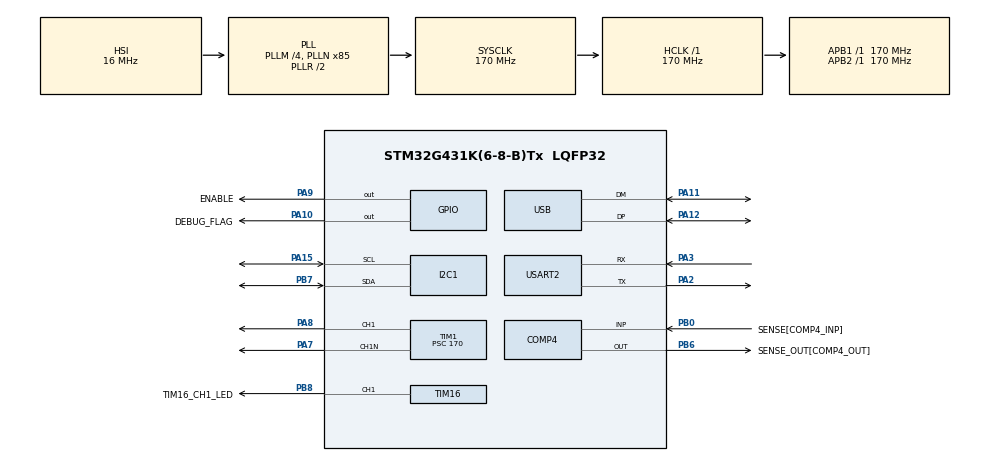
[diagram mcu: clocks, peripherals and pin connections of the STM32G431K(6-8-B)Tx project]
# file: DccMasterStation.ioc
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Dma.Request0=TIM1_CH1
Dma.TIM1_CH1.0.Direction=DMA_MEMORY_TO_PERIPH
Dma.TIM1_CH1.0.EventEnable=DISABLE
Dma.TIM1_CH1.0.Instance=DMA1_Channel1
Dma.TIM1_CH1.0.MemDataAlignment=DMA_MDATAALIGN_HALFWORD
Dma.TIM1_CH1.0.MemInc=DMA_MINC_ENABLE
Dma.TIM1_CH1.0.Mode=DMA_NORMAL
Dma.TIM1_CH1.0.PeriphDataAlignment=DMA_PDATAALIGN_HALFWORD
Dma.TIM1_CH1.0.PeriphInc=DMA_PINC_DISABLE
Dma.TIM1_CH1.0.Polarity=HAL_DMAMUX_REQ_GEN_RISING
Dma.TIM1_CH1.0.Priority=DMA_PRIORITY_VERY_HIGH
Dma.TIM1_CH1.0.RequestNumber=1
Dma.TIM1_CH1.0.SignalID=NONE
Dma.TIM1_CH1.0.SyncEnable=DISABLE
Dma.TIM1_CH1.0.SyncPolarity=HAL_DMAMUX_SYNC_NO_EVENT
Dma.TIM1_CH1.0.SyncRequestNumber=1
Dma.TIM1_CH1.0.SyncSignalID=NONE
I2C1.Timing=0x30A0A7FB
Mcu.Family=STM32G4
Mcu.Name=STM32G431K(6-8-B)Tx
Mcu.Package=LQFP32
NVIC.DMA1_Channel1_IRQn=true\:0\:0\:false\:false\:true\:false\:true
NVIC.PriorityGroup=NVIC_PRIORITYGROUP_4
NVIC.TIM1_TRG_COM_TIM17_IRQn=true\:0\:0\:false\:false\:true\:true\:true
NVIC.TIM6_DAC_IRQn=true\:0\:0\:false\:false\:true\:true\:true
NVIC.USB_LP_IRQn=true\:0\:0\:false\:false\:true\:false\:true
PA10.GPIO_Label=DEBUG_FLAG
PA10.Signal=GPIO_Output
PA11.Mode=Device
PA11.Signal=USB_DM
PA12.Mode=Device
PA12.Signal=USB_DP
PA13.GPIO_Label=T_SWDIO
PA13.Mode=Serial_Wire
PA13.Signal=SYS_JTMS-SWDIO
PA14.GPIO_Label=T_SWCLK
PA14.Mode=Serial_Wire
PA14.Signal=SYS_JTCK-SWCLK
PA15.Mode=I2C
PA15.Signal=I2C1_SCL
PA2.Mode=Asynchronous
PA2.Signal=USART2_TX
PA3.Mode=Asynchronous
PA3.Signal=USART2_RX
PA7.Mode=PWM Generation1 CH1 CH1N
PA7.Signal=TIM1_CH1N
PA8.Signal=S_TIM1_CH1
PA9.GPIO_Label=ENABLE
PA9.Signal=GPIO_Output
PB0.GPIO_Label=SENSE[COMP4_INP]
PB0.Mode=INP
PB0.Signal=COMP4_INP
PB6.GPIO_Label=SENSE_OUT[COMP4_OUT]
PB6.Mode=ExternalOutput
PB6.Signal=COMP4_OUT
PB7.Mode=I2C
PB7.Signal=I2C1_SDA
PB8-BOOT0.GPIO_Label=TIM16_CH1_LED
PB8-BOOT0.Signal=S_TIM16_CH1
ProjectManager.HeapSize=0x200
ProjectManager.StackSize=0x400
ProjectManager.TargetToolchain=STM32CubeIDE
RCC.ADC12CLockSelection=RCC_ADC12CLKSOURCE_PLL
RCC.ADC12Freq_Value=17000000
RCC.AHBFreq_Value=170000000
RCC.APB1Freq_Value=170000000
RCC.APB1TimFreq_Value=170000000
RCC.APB2Freq_Value=170000000
RCC.APB2TimFreq_Value=170000000
RCC.CK48CLockSelection=RCC_USBCLKSOURCE_HSI48
RCC.CortexFreq_Value=170000000
RCC.EXTERNAL_CLOCK_VALUE=12288000
RCC.HCLKFreq_Value=170000000
RCC.HSE_VALUE=24000000
RCC.HSI48_VALUE=48000000
RCC.HSI_VALUE=16000000
RCC.LSE_VALUE=32768
RCC.PLLM=RCC_PLLM_DIV4
RCC.PLLN=85
RCC.PLLP=RCC_PLLP_DIV20
RCC.SYSCLKFreq_VALUE=170000000
RCC.SYSCLKSource=RCC_SYSCLKSOURCE_PLLCLK
RCC.USART2CLockSelection=RCC_USART2CLKSOURCE_HSI
RCC.USBFreq_Value=48000000
RCC.VCOOutputFreq_Value=340000000
SH.S_TIM16_CH1.0=TIM16_CH1,PWM Generation1 CH1
SH.S_TIM1_CH1.0=TIM1_CH1,PWM Generation1 CH1 CH1N
TIM1.BreakState=TIM_BREAK_DISABLE
TIM1.Channel-PWM\ Generation1\ CH1\ CH1N=TIM_CHANNEL_1
TIM1.PeriodNoDither=112
TIM1.Prescaler=170
TIM1.PulseNoDither_1=56
TIM1.SourceBRKCOMP1=TIM_BREAKINPUTSOURCE_DISABLE
TIM16.Channel=TIM_CHANNEL_1
TIM16.PeriodNoDither=20000
TIM16.Prescaler=16800
TIM16.PulseNoDither_1=1000
TIM6.PeriodNoDither=487
TIM6.Prescaler=170
USART2.VirtualMode-Asynchronous=VM_ASYNC
USB_DEVICE.CLASS_NAME_FS=CDC
USB_DEVICE.MANUFACTURER_STRING=EasyTrain
USB_DEVICE.PID_CDC_FS=0xa740
USB_DEVICE.PRODUCT_STRING_CDC_FS=Dcc Master Staion
USB_DEVICE.VID=0x483
USB_DEVICE.VirtualMode=Cdc
USB_DEVICE.VirtualModeFS=Cdc_FS
VP_COMP4_VS_VREFINT34.Mode=VREFINT_34
VP_SYS_VS_DBSignals.Mode=DisableDeadBatterySignals
VP_TIM16_VS_ClockSourceINT.Mode=Enable_Timer
VP_TIM1_VS_ClockSourceINT.Mode=Internal
VP_TIM6_VS_ClockSourceINT.Mode=Enable_Timer
VP_TIM6_VS_OPM.Mode=OPM_bit
VP_USB_DEVICE_VS_USB_DEVICE_CDC_FS.Mode=CDC_FS
board=NUCLEO-G431KB

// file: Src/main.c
/* USER CODE BEGIN Header */
/**
  ******************************************************************************
  * @file           : main.c
  * @brief          : Main program body
  ******************************************************************************
  * @attention
  *
  * <h2><center>&copy; Copyright (c) 2019 STMicroelectronics.
  * All rights reserved.</center></h2>
  *
  * This software component is licensed by ST under Ultimate Liberty license
  * SLA0044, the "License"; You may not use this file except in compliance with
  * the License. You may obtain a copy of the License at:
  *                             www.st.com/SLA0044
  *
  ******************************************************************************
  */
/* USER CODE END Header */

#include "main.h"
#include "usb_device.h"

/* USER CODE BEGIN Includes */
#include "usbd_cdc_if.h"

/* USER CODE END Includes */

COMP_HandleTypeDef hcomp4;

I2C_HandleTypeDef hi2c1;

TIM_HandleTypeDef htim1;
TIM_HandleTypeDef htim6;
TIM_HandleTypeDef htim16;
DMA_HandleTypeDef hdma_tim1_ch1;

UART_HandleTypeDef huart2;

/* USER CODE BEGIN PV */
s_main_track 	main_track;

s_len3_packet 	len3_packet;
s_len4_packet 	len4_packet;
s_len5_packet 	len5_packet;
s_len6_packet 	len6_packet;

s_len3_packet	idle_packet;
s_len3_packet	reset_packet;

uint32_t		update_semaphore; /* when 1 the fields can be updated */

uint8_t		uart2_rx_buffer_ready;
uint8_t		usb_rx_buffer_ready,usb_index;
s_rxbuf 	uart_rxbuf , usb_rxbuf;

/*
CN4
	4		GND
	12		TIM1_CH1	D9
	6		ENABLE_1	D3
	2		DEBUG_FLAG
*/

/* USER CODE END PV */

void SystemClock_Config(void);
static void MX_GPIO_Init(void);
static void MX_DMA_Init(void);
static void MX_USART2_UART_Init(void);
static void MX_TIM1_Init(void);
static void MX_TIM16_Init(void);
static void MX_TIM6_Init(void);
static void MX_I2C1_Init(void);
static void MX_COMP4_Init(void);

/* USER CODE BEGIN 0 */
uint32_t 	*dcc_packet;
uint32_t	dcc_packet_size;

void packet_callback(void)
{
	  htim1.Instance->CR1 &= ~TIM_CR1_CEN;
	  if ( main_track.main_power == 1 )
	  {
		  HAL_TIM_Base_Start_IT(&htim6);
		  update_semaphore = 0;
		  htim16.Instance->PSC = TIM16_BLINK_ACTIVE;
	  }
	  else
		  htim16.Instance->PSC = TIM16_BLINK_INACTIVE;
	  HAL_GPIO_WritePin(ENABLE_GPIO_Port, ENABLE_Pin,GPIO_PIN_RESET);
}

void cutout_callback(void)
{
	  PWM_Start_DMA_Tim1( dcc_packet , dcc_packet_size);
	  htim1.Instance->CR1|=TIM_CR1_CEN;
	  HAL_GPIO_WritePin(ENABLE_GPIO_Port, ENABLE_Pin,GPIO_PIN_SET);
	  dcc_packet = (uint32_t *)&idle_packet ;
	  dcc_packet_size = sizeof(idle_packet)/2;
	  update_semaphore = 1;
}

void debug_flag_pulse(void)
{
	  HAL_GPIO_WritePin(DEBUG_FLAG_GPIO_Port, DEBUG_FLAG_Pin,GPIO_PIN_SET);
	  HAL_GPIO_WritePin(DEBUG_FLAG_GPIO_Port, DEBUG_FLAG_Pin,GPIO_PIN_RESET);
}
uint8_t buffer[128] = "Hi fil\n\r";
uint8_t rbuffer[128];
uint8_t rbuffer_size;
/* USER CODE END 0 */

int main(void)
{

  /* MCU Configuration--------------------------------------------------------*/

  /* Reset of all peripherals, Initializes the Flash interface and the Systick. */
  HAL_Init();

  /* Configure the system clock */
  SystemClock_Config();

  /* Initialize all configured peripherals */
  MX_GPIO_Init();
  MX_DMA_Init();
  MX_USART2_UART_Init();
  MX_TIM1_Init();
  MX_TIM16_Init();
  MX_TIM6_Init();
  MX_USB_Device_Init();
  MX_I2C1_Init();
  MX_COMP4_Init();
  /* USER CODE BEGIN 2 */
  HAL_TIM_PWM_Start(&htim16,0); /* Used for live led */

  init_bufs();
  uart_start();
  update_semaphore = 1;
  main_track.main_power = 0;

  dcc_packet = (uint32_t *)&idle_packet ;
  dcc_packet_size = sizeof(idle_packet)/2;
  /* USER CODE END 2 */

  /* Infinite loop */
  /* USER CODE BEGIN WHILE */
  rbuffer_size=0;
   usb_index=0;
   while (1)
   {
 		if ( uart2_rx_buffer_ready ==1 )
 		{
 			uart2_rx_buffer_ready = 0;
 			parser(FROM_UART);
 		}
 		// usb_rx_buffer_ready
 		if ( rbuffer_size != 0)
 		{
 			if ( rbuffer[0] == '<')
 				usb_rxbuf.byte_count = 0;

 			usb_rxbuf.packet[usb_rxbuf.byte_count] = rbuffer[0];
 			usb_rxbuf.byte_count++;
 			if ( usb_rxbuf.byte_count >= USBUART_BUFLEN)
 				usb_rxbuf.byte_count = 0;
 			if ( USB_UART_RxCpltCallback() )
 			{
 				//CDC_Transmit_FS(usb_rxbuf.packet,usb_rxbuf.byte_count);
 				parser(FROM_USB);
 				usb_rxbuf.byte_count=0;
 			}
 			rbuffer_size=0;
 		}
    /* USER CODE END WHILE */

  }
}

void SystemClock_Config(void)
{
  RCC_OscInitTypeDef RCC_OscInitStruct = {0};
  RCC_ClkInitTypeDef RCC_ClkInitStruct = {0};
  RCC_PeriphCLKInitTypeDef PeriphClkInit = {0};

  /** Configure the main internal regulator output voltage
  */
  HAL_PWREx_ControlVoltageScaling(PWR_REGULATOR_VOLTAGE_SCALE1_BOOST);
  /** Initializes the CPU, AHB and APB busses clocks
  */
  RCC_OscInitStruct.OscillatorType = RCC_OSCILLATORTYPE_HSI|RCC_OSCILLATORTYPE_HSI48;
  RCC_OscInitStruct.HSIState = RCC_HSI_ON;
  RCC_OscInitStruct.HSICalibrationValue = RCC_HSICALIBRATION_DEFAULT;
  RCC_OscInitStruct.HSI48State = RCC_HSI48_ON;
  RCC_OscInitStruct.PLL.PLLState = RCC_PLL_ON;
  RCC_OscInitStruct.PLL.PLLSource = RCC_PLLSOURCE_HSI;
  RCC_OscInitStruct.PLL.PLLM = RCC_PLLM_DIV4;
  RCC_OscInitStruct.PLL.PLLN = 85;
  RCC_OscInitStruct.PLL.PLLP = RCC_PLLP_DIV20;
  RCC_OscInitStruct.PLL.PLLQ = RCC_PLLQ_DIV2;
  RCC_OscInitStruct.PLL.PLLR = RCC_PLLR_DIV2;
  if (HAL_RCC_OscConfig(&RCC_OscInitStruct) != HAL_OK)
  {
    Error_Handler();
  }
  /** Initializes the CPU, AHB and APB busses clocks
  */
  RCC_ClkInitStruct.ClockType = RCC_CLOCKTYPE_HCLK|RCC_CLOCKTYPE_SYSCLK
                              |RCC_CLOCKTYPE_PCLK1|RCC_CLOCKTYPE_PCLK2;
  RCC_ClkInitStruct.SYSCLKSource = RCC_SYSCLKSOURCE_PLLCLK;
  RCC_ClkInitStruct.AHBCLKDivider = RCC_SYSCLK_DIV1;
  RCC_ClkInitStruct.APB1CLKDivider = RCC_HCLK_DIV1;
  RCC_ClkInitStruct.APB2CLKDivider = RCC_HCLK_DIV1;

  if (HAL_RCC_ClockConfig(&RCC_ClkInitStruct, FLASH_LATENCY_8) != HAL_OK)
  {
    Error_Handler();
  }
  /** Initializes the peripherals clocks
  */
  PeriphClkInit.PeriphClockSelection = RCC_PERIPHCLK_USART2|RCC_PERIPHCLK_I2C1
                              |RCC_PERIPHCLK_USB;
  PeriphClkInit.Usart2ClockSelection = RCC_USART2CLKSOURCE_HSI;
  PeriphClkInit.I2c1ClockSelection = RCC_I2C1CLKSOURCE_PCLK1;
  PeriphClkInit.UsbClockSelection = RCC_USBCLKSOURCE_HSI48;
  if (HAL_RCCEx_PeriphCLKConfig(&PeriphClkInit) != HAL_OK)
  {
    Error_Handler();
  }
}

static void MX_COMP4_Init(void)
{

  hcomp4.Instance = COMP4;
  hcomp4.Init.InputPlus = COMP_INPUT_PLUS_IO1;
  hcomp4.Init.InputMinus = COMP_INPUT_MINUS_3_4VREFINT;
  hcomp4.Init.OutputPol = COMP_OUTPUTPOL_NONINVERTED;
  hcomp4.Init.Hysteresis = COMP_HYSTERESIS_NONE;
  hcomp4.Init.BlankingSrce = COMP_BLANKINGSRC_NONE;
  hcomp4.Init.TriggerMode = COMP_TRIGGERMODE_NONE;
  if (HAL_COMP_Init(&hcomp4) != HAL_OK)
  {
    Error_Handler();
  }

}

static void MX_I2C1_Init(void)
{

  hi2c1.Instance = I2C1;
  hi2c1.Init.Timing = 0x30A0A7FB;
  hi2c1.Init.OwnAddress1 = 0;
  hi2c1.Init.AddressingMode = I2C_ADDRESSINGMODE_7BIT;
  hi2c1.Init.DualAddressMode = I2C_DUALADDRESS_DISABLE;
  hi2c1.Init.OwnAddress2 = 0;
  hi2c1.Init.OwnAddress2Masks = I2C_OA2_NOMASK;
  hi2c1.Init.GeneralCallMode = I2C_GENERALCALL_DISABLE;
  hi2c1.Init.NoStretchMode = I2C_NOSTRETCH_DISABLE;
  if (HAL_I2C_Init(&hi2c1) != HAL_OK)
  {
    Error_Handler();
  }
  /** Configure Analogue filter
  */
  if (HAL_I2CEx_ConfigAnalogFilter(&hi2c1, I2C_ANALOGFILTER_ENABLE) != HAL_OK)
  {
    Error_Handler();
  }
  /** Configure Digital filter
  */
  if (HAL_I2CEx_ConfigDigitalFilter(&hi2c1, 0) != HAL_OK)
  {
    Error_Handler();
  }

}

static void MX_TIM1_Init(void)
{

  TIM_ClockConfigTypeDef sClockSourceConfig = {0};
  TIM_MasterConfigTypeDef sMasterConfig = {0};
  TIM_OC_InitTypeDef sConfigOC = {0};
  TIM_BreakDeadTimeConfigTypeDef sBreakDeadTimeConfig = {0};

  htim1.Instance = TIM1;
  htim1.Init.Prescaler = 170;
  htim1.Init.CounterMode = TIM_COUNTERMODE_UP;
  htim1.Init.Period = 112;
  htim1.Init.ClockDivision = TIM_CLOCKDIVISION_DIV1;
  htim1.Init.RepetitionCounter = 0;
  htim1.Init.AutoReloadPreload = TIM_AUTORELOAD_PRELOAD_DISABLE;
  if (HAL_TIM_Base_Init(&htim1) != HAL_OK)
  {
    Error_Handler();
  }
  sClockSourceConfig.ClockSource = TIM_CLOCKSOURCE_INTERNAL;
  if (HAL_TIM_ConfigClockSource(&htim1, &sClockSourceConfig) != HAL_OK)
  {
    Error_Handler();
  }
  if (HAL_TIM_PWM_Init(&htim1) != HAL_OK)
  {
    Error_Handler();
  }
  sMasterConfig.MasterOutputTrigger = TIM_TRGO_RESET;
  sMasterConfig.MasterOutputTrigger2 = TIM_TRGO2_RESET;
  sMasterConfig.MasterSlaveMode = TIM_MASTERSLAVEMODE_DISABLE;
  if (HAL_TIMEx_MasterConfigSynchronization(&htim1, &sMasterConfig) != HAL_OK)
  {
    Error_Handler();
  }
  sConfigOC.OCMode = TIM_OCMODE_PWM1;
  sConfigOC.Pulse = 56;
  sConfigOC.OCPolarity = TIM_OCPOLARITY_HIGH;
  sConfigOC.OCNPolarity = TIM_OCNPOLARITY_HIGH;
  sConfigOC.OCFastMode = TIM_OCFAST_DISABLE;
  sConfigOC.OCIdleState = TIM_OCIDLESTATE_RESET;
  sConfigOC.OCNIdleState = TIM_OCNIDLESTATE_RESET;
  if (HAL_TIM_PWM_ConfigChannel(&htim1, &sConfigOC, TIM_CHANNEL_1) != HAL_OK)
  {
    Error_Handler();
  }
  sBreakDeadTimeConfig.OffStateRunMode = TIM_OSSR_DISABLE;
  sBreakDeadTimeConfig.OffStateIDLEMode = TIM_OSSI_DISABLE;
  sBreakDeadTimeConfig.LockLevel = TIM_LOCKLEVEL_OFF;
  sBreakDeadTimeConfig.DeadTime = 0;
  sBreakDeadTimeConfig.BreakState = TIM_BREAK_DISABLE;
  sBreakDeadTimeConfig.BreakPolarity = TIM_BREAKPOLARITY_HIGH;
  sBreakDeadTimeConfig.BreakFilter = 0;
  sBreakDeadTimeConfig.BreakAFMode = TIM_BREAK_AFMODE_INPUT;
  sBreakDeadTimeConfig.Break2State = TIM_BREAK2_DISABLE;
  sBreakDeadTimeConfig.Break2Polarity = TIM_BREAK2POLARITY_HIGH;
  sBreakDeadTimeConfig.Break2Filter = 0;
  sBreakDeadTimeConfig.Break2AFMode = TIM_BREAK_AFMODE_INPUT;
  sBreakDeadTimeConfig.AutomaticOutput = TIM_AUTOMATICOUTPUT_DISABLE;
  if (HAL_TIMEx_ConfigBreakDeadTime(&htim1, &sBreakDeadTimeConfig) != HAL_OK)
  {
    Error_Handler();
  }
  HAL_TIM_MspPostInit(&htim1);

}

static void MX_TIM6_Init(void)
{

  TIM_MasterConfigTypeDef sMasterConfig = {0};

  htim6.Instance = TIM6;
  htim6.Init.Prescaler = 170;
  htim6.Init.CounterMode = TIM_COUNTERMODE_UP;
  htim6.Init.Period = 487;
  htim6.Init.AutoReloadPreload = TIM_AUTORELOAD_PRELOAD_DISABLE;
  if (HAL_TIM_Base_Init(&htim6) != HAL_OK)
  {
    Error_Handler();
  }
  if (HAL_TIM_OnePulse_Init(&htim6, TIM_OPMODE_SINGLE) != HAL_OK)
  {
    Error_Handler();
  }
  sMasterConfig.MasterOutputTrigger = TIM_TRGO_RESET;
  sMasterConfig.MasterSlaveMode = TIM_MASTERSLAVEMODE_DISABLE;
  if (HAL_TIMEx_MasterConfigSynchronization(&htim6, &sMasterConfig) != HAL_OK)
  {
    Error_Handler();
  }

}

static void MX_TIM16_Init(void)
{

  TIM_OC_InitTypeDef sConfigOC = {0};
  TIM_BreakDeadTimeConfigTypeDef sBreakDeadTimeConfig = {0};

  htim16.Instance = TIM16;
  htim16.Init.Prescaler = 16800;
  htim16.Init.CounterMode = TIM_COUNTERMODE_UP;
  htim16.Init.Period = 20000;
  htim16.Init.ClockDivision = TIM_CLOCKDIVISION_DIV1;
  htim16.Init.RepetitionCounter = 0;
  htim16.Init.AutoReloadPreload = TIM_AUTORELOAD_PRELOAD_DISABLE;
  if (HAL_TIM_Base_Init(&htim16) != HAL_OK)
  {
    Error_Handler();
  }
  if (HAL_TIM_PWM_Init(&htim16) != HAL_OK)
  {
    Error_Handler();
  }
  sConfigOC.OCMode = TIM_OCMODE_PWM1;
  sConfigOC.Pulse = 1000;
  sConfigOC.OCPolarity = TIM_OCPOLARITY_HIGH;
  sConfigOC.OCNPolarity = TIM_OCNPOLARITY_HIGH;
  sConfigOC.OCFastMode = TIM_OCFAST_DISABLE;
  sConfigOC.OCIdleState = TIM_OCIDLESTATE_RESET;
  sConfigOC.OCNIdleState = TIM_OCNIDLESTATE_RESET;
  if (HAL_TIM_PWM_ConfigChannel(&htim16, &sConfigOC, TIM_CHANNEL_1) != HAL_OK)
  {
    Error_Handler();
  }
  sBreakDeadTimeConfig.OffStateRunMode = TIM_OSSR_DISABLE;
  sBreakDeadTimeConfig.OffStateIDLEMode = TIM_OSSI_DISABLE;
  sBreakDeadTimeConfig.LockLevel = TIM_LOCKLEVEL_OFF;
  sBreakDeadTimeConfig.DeadTime = 0;
  sBreakDeadTimeConfig.BreakState = TIM_BREAK_DISABLE;
  sBreakDeadTimeConfig.BreakPolarity = TIM_BREAKPOLARITY_HIGH;
  sBreakDeadTimeConfig.BreakFilter = 0;
  sBreakDeadTimeConfig.AutomaticOutput = TIM_AUTOMATICOUTPUT_DISABLE;
  if (HAL_TIMEx_ConfigBreakDeadTime(&htim16, &sBreakDeadTimeConfig) != HAL_OK)
  {
    Error_Handler();
  }
  HAL_TIM_MspPostInit(&htim16);

}

static void MX_USART2_UART_Init(void)
{

  huart2.Instance = USART2;
  huart2.Init.BaudRate = 115200;
  huart2.Init.WordLength = UART_WORDLENGTH_8B;
  huart2.Init.StopBits = UART_STOPBITS_1;
  huart2.Init.Parity = UART_PARITY_NONE;
  huart2.Init.Mode = UART_MODE_TX_RX;
  huart2.Init.HwFlowCtl = UART_HWCONTROL_NONE;
  huart2.Init.OverSampling = UART_OVERSAMPLING_16;
  huart2.Init.OneBitSampling = UART_ONE_BIT_SAMPLE_DISABLE;
  huart2.Init.ClockPrescaler = UART_PRESCALER_DIV1;
  huart2.AdvancedInit.AdvFeatureInit = UART_ADVFEATURE_NO_INIT;
  if (HAL_UART_Init(&huart2) != HAL_OK)
  {
    Error_Handler();
  }
  if (HAL_UARTEx_SetTxFifoThreshold(&huart2, UART_TXFIFO_THRESHOLD_1_8) != HAL_OK)
  {
    Error_Handler();
  }
  if (HAL_UARTEx_SetRxFifoThreshold(&huart2, UART_RXFIFO_THRESHOLD_1_8) != HAL_OK)
  {
    Error_Handler();
  }
  if (HAL_UARTEx_DisableFifoMode(&huart2) != HAL_OK)
  {
    Error_Handler();
  }

}

static void MX_DMA_Init(void)
{

  /* DMA controller clock enable */
  __HAL_RCC_DMAMUX1_CLK_ENABLE();
  __HAL_RCC_DMA1_CLK_ENABLE();

  /* DMA interrupt init */
  /* DMA1_Channel1_IRQn interrupt configuration */
  HAL_NVIC_SetPriority(DMA1_Channel1_IRQn, 0, 0);
  HAL_NVIC_EnableIRQ(DMA1_Channel1_IRQn);

}

static void MX_GPIO_Init(void)
{
  GPIO_InitTypeDef GPIO_InitStruct = {0};

  /* GPIO Ports Clock Enable */
  __HAL_RCC_GPIOA_CLK_ENABLE();
  __HAL_RCC_GPIOB_CLK_ENABLE();

  /*Configure GPIO pin Output Level */
  HAL_GPIO_WritePin(GPIOA, ENABLE_Pin|DEBUG_FLAG_Pin, GPIO_PIN_RESET);

  /*Configure GPIO pins : ENABLE_Pin DEBUG_FLAG_Pin */
  GPIO_InitStruct.Pin = ENABLE_Pin|DEBUG_FLAG_Pin;
  GPIO_InitStruct.Mode = GPIO_MODE_OUTPUT_PP;
  GPIO_InitStruct.Pull = GPIO_NOPULL;
  GPIO_InitStruct.Speed = GPIO_SPEED_FREQ_LOW;
  HAL_GPIO_Init(GPIOA, &GPIO_InitStruct);

}

void Error_Handler(void)
{
}

/************************ (C) COPYRIGHT STMicroelectronics *****END OF FILE****/
